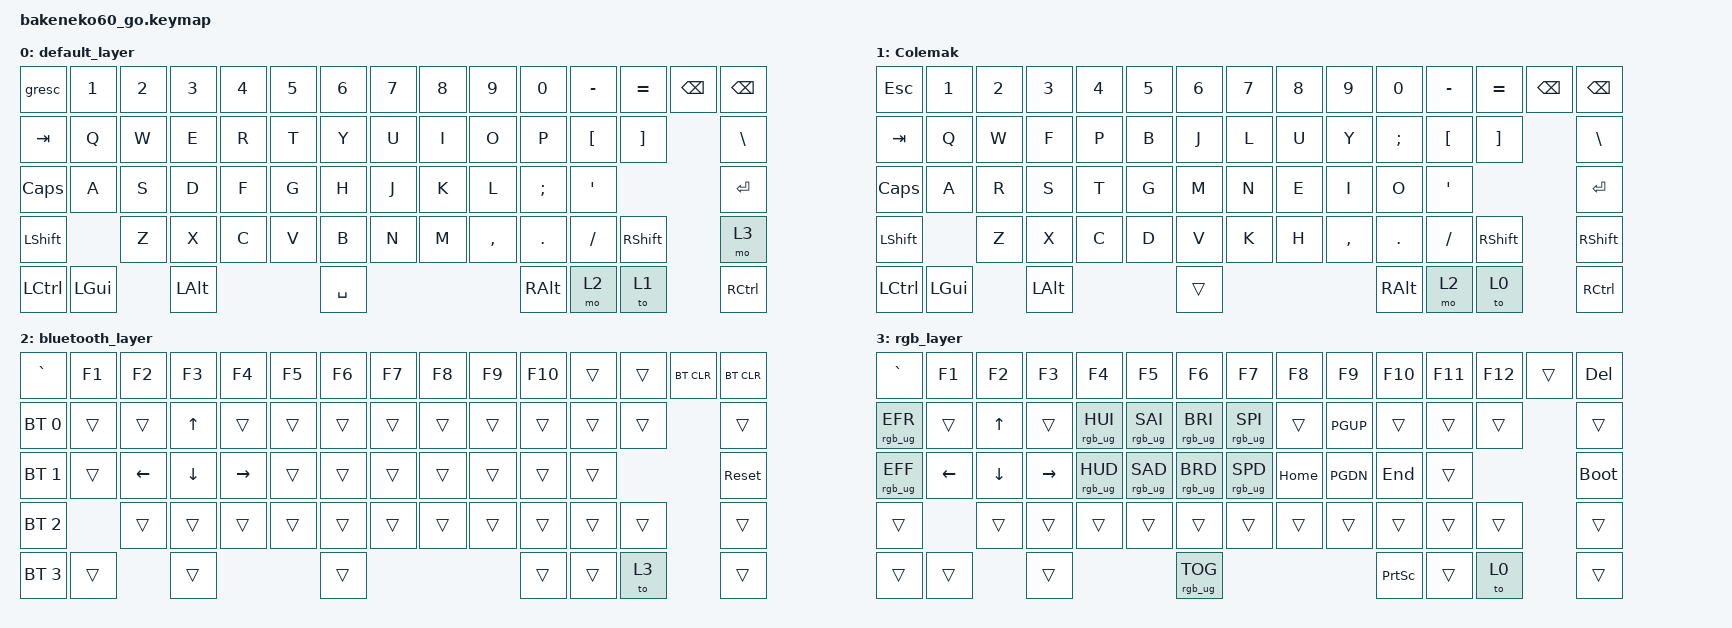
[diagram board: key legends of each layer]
/*
 * Copyright (c) 2023 Andrew Kannan
 *
 * SPDX-License-Identifier: MIT
 */

#include <behaviors.dtsi>
#include <dt-bindings/zmk/bt.h>
#include <dt-bindings/zmk/keys.h>
#include <dt-bindings/zmk/rgb.h>

/ {
    keymap {
        compatible = "zmk,keymap";

        default_layer {
            // ------------------------------------------------------------------------------------------
            // | ESC |  1  |  2  |  3  |  4  |  5  |  6  |  7  |  8  |  9  |  0  |  -  |  =  | BKSP|BKSP|
            // | TAB  |  Q  |  W  |  E  |  R  |  T  |  Y  |  U  |  I  |  O  |  P  |  [  |  ]  |   "|"   |
            // | CAPS  |  A  |  S  |  D  |  F  |  G  |  H  |  J  |  K  |  L  |  ;  |  '  |     ENTER    |
            // |  SHIFT  |  Z  |  X  |  C  |  V  |  B  |  N  |  M  |  ,  |  .  |  /  |  SHIFT  | MO(1)  |
            // |  CTL  |  WIN  |  ALT  |            SPACE              |  ALT  |  WIN  |  MO(1) |  CTL  |
            // ------------------------------------------------------------------------------------------

            bindings = <
&gresc     &kp N1    &kp N2  &kp N3    &kp N4  &kp N5  &kp N6     &kp N7  &kp N8  &kp N9     &kp N0    &kp MINUS  &kp EQUAL  &kp BSPC  &kp BSPC
&kp TAB    &kp Q     &kp W   &kp E     &kp R   &kp T   &kp Y      &kp U   &kp I   &kp O      &kp P     &kp LBKT   &kp RBKT             &kp BSLH
&kp CLCK   &kp A     &kp S   &kp D     &kp F   &kp G   &kp H      &kp J   &kp K   &kp L      &kp SEMI  &kp SQT                         &kp RET
&kp LSHFT            &kp Z   &kp X     &kp C   &kp V   &kp B      &kp N   &kp M   &kp COMMA  &kp DOT   &kp FSLH   &kp RSHFT            &mo 3
&kp LCTRL  &kp LGUI          &kp LALT                  &kp SPACE                             &kp RALT  &mo 2      &to 1                &kp RCTRL
            >;
        };

        Colemak {
            bindings = <
&kp ESC    &kp N1    &kp N2  &kp N3    &kp N4  &kp N5  &kp N6  &kp N7  &kp N8  &kp N9     &kp N0    &kp MINUS  &kp EQUAL  &kp BSPC  &kp BSPC
&kp TAB    &kp Q     &kp W   &kp F     &kp P   &kp B   &kp J   &kp L   &kp U   &kp Y      &kp SEMI  &kp LBKT   &kp RBKT             &kp BSLH
&kp CAPS   &kp A     &kp R   &kp S     &kp T   &kp G   &kp M   &kp N   &kp E   &kp I      &kp O     &kp APOS                        &kp ENTER
&kp LSHFT            &kp Z   &kp X     &kp C   &kp D   &kp V   &kp K   &kp H   &kp COMMA  &kp DOT   &kp FSLH   &kp RSHFT            &kp RSHFT
&kp LCTRL  &kp LGUI          &kp LALT                  &trans                             &kp RALT  &mo 2      &to 0                &kp RCTRL
            >;
        };

        bluetooth_layer {
            // ------------------------------------------------------------------------------------------------
            // | BT CLR |     |     |     |     |     |     |     |     |     |     |    |    |       |       |
            // |  BT 1   |   |     |   |       |       |       |       |   |     |    |     |     |           |
            // |   BT 2   |    |      |    |       |       |       |       |      |      |      |  |   Reset  |
            // |    BT 3     |     |      |      |     |     |     |     |     |     |     |         |        |
            // |   BT 4  |      |      |                                    |         |       |       |       |
            // ------------------------------------------------------------------------------------------------

            bindings = <
&kp GRAVE     &kp F1  &kp F2    &kp F3        &kp F4     &kp F5  &kp F6  &kp F7  &kp F8  &kp F9  &kp F10  &trans  &trans  &bt BT_CLR  &bt BT_CLR
&bt BT_SEL 0  &trans  &trans    &kp UP_ARROW  &trans     &trans  &trans  &trans  &trans  &trans  &trans   &trans  &trans              &trans
&bt BT_SEL 1  &trans  &kp LEFT  &kp DOWN      &kp RIGHT  &trans  &trans  &trans  &trans  &trans  &trans   &trans                      &sys_reset
&bt BT_SEL 2          &trans    &trans        &trans     &trans  &trans  &trans  &trans  &trans  &trans   &trans  &trans              &trans
&bt BT_SEL 3  &trans            &trans                           &trans                          &trans   &trans  &to 3               &trans
            >;
        };

        rgb_layer {
            // ------------------------------------------------------------------------------------------------
            // |    `   | F1  | F2  | F3  | F4  | F5  | F6  | F7  | F8  | F9  | F10  | F11 | F12 |     | DEL  |
            // | EFCT REV|   |  UP |   | HUEUP | SATUP | BRIUP | SPDUP |      |  PGUP |    |     |    |       |
            // | EFCT FWD | LT |  DN  | RT | HUEDN | SATDN | BRIDN | SPDDN | HOME | PGDN | END  |  | BOOTLDR  |
            // |             |     |      |      |     |     |     |     |     |     |     |         |        |
            // |         |      |      |             TOG RGB                | PRT SCR |       |       |  MO(2)|
            // ------------------------------------------------------------------------------------------------

            bindings = <
&kp GRAVE        &kp F1    &kp F2    &kp F3     &kp F4           &kp F5           &kp F6           &kp F7           &kp F8    &kp F9    &kp F10    &kp F11  &kp F12  &trans  &kp DEL
&rgb_ug RGB_EFR  &trans    &kp UP    &trans     &rgb_ug RGB_HUI  &rgb_ug RGB_SAI  &rgb_ug RGB_BRI  &rgb_ug RGB_SPI  &trans    &kp PGUP  &trans     &trans   &trans           &trans
&rgb_ug RGB_EFF  &kp LEFT  &kp DOWN  &kp RIGHT  &rgb_ug RGB_HUD  &rgb_ug RGB_SAD  &rgb_ug RGB_BRD  &rgb_ug RGB_SPD  &kp HOME  &kp PGDN  &kp END    &trans                    &bootloader
&trans                     &trans    &trans     &trans           &trans           &trans           &trans           &trans    &trans    &trans     &trans   &trans           &trans
&trans           &trans              &trans                                       &rgb_ug RGB_TOG                                       &kp PSCRN  &trans   &to 0            &trans
            >;
        };
    };

    combos {
        compatible = "zmk,combos";

        combo_bt {
            timeout-ms = <50>;
            key-positions = <61 62>;
            bindings = <&mo 2>;
        };
    };
};
